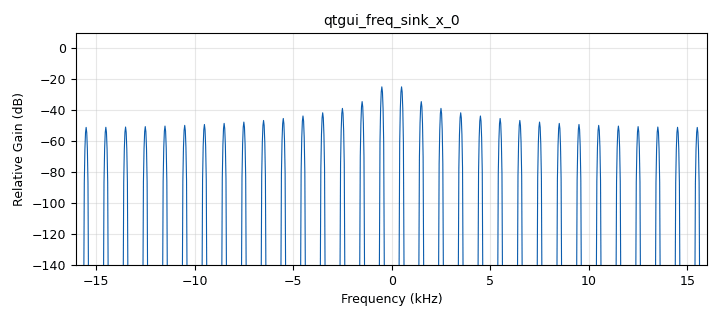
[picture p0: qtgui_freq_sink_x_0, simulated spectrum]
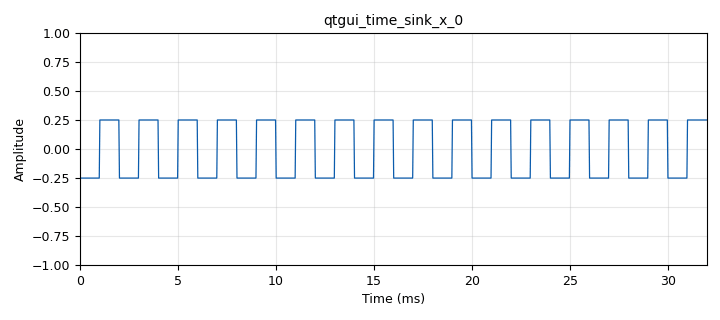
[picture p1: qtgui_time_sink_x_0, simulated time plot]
options:
  parameters:
    author: anes
    generate_options: qt_gui
    id: untitled2
    output_language: python
    title: Not titled yet
  states: {}

blocks:
- name: freq
  id: variable_qtgui_range
  parameters:
    start: '-10e3'
    step: '100'
    stop: 10e3
    value: '500'
  states: {}
- name: samp_rate
  id: variable
  parameters:
    value: '32000'
  states: {}
- name: analog_sig_source_x_0
  id: analog_sig_source_x
  parameters:
    amp: '0.5'
    freq: freq
    offset: '-0.25'
    phase: '0'
    samp_rate: samp_rate
    type: float
    waveform: analog.GR_SQR_WAVE
  states: {}
- name: blocks_throttle_0
  id: blocks_throttle
  parameters:
    samples_per_second: samp_rate
    type: float
  states: {}
- name: qtgui_freq_sink_x_0
  id: qtgui_freq_sink_x
  parameters:
    bw: samp_rate
    fc: '0'
    fftsize: '1024'
    type: float
  states: {}
- name: qtgui_sink_x_0
  id: qtgui_sink_x
  parameters:
    bw: samp_rate
    fc: '0'
    fftsize: '1024'
    type: complex
  states: {state: disabled}
- name: qtgui_time_sink_x_0
  id: qtgui_time_sink_x
  parameters:
    size: '1024'
    srate: samp_rate
    type: float
  states: {}

connections:
- [analog_sig_source_x_0, '0', blocks_throttle_0, '0']
- [blocks_throttle_0, '0', qtgui_freq_sink_x_0, '0']
- [blocks_throttle_0, '0', qtgui_sink_x_0, '0']
- [blocks_throttle_0, '0', qtgui_time_sink_x_0, '0']

metadata:
  file_format: 1
  grc_version: 3.10.9.2
